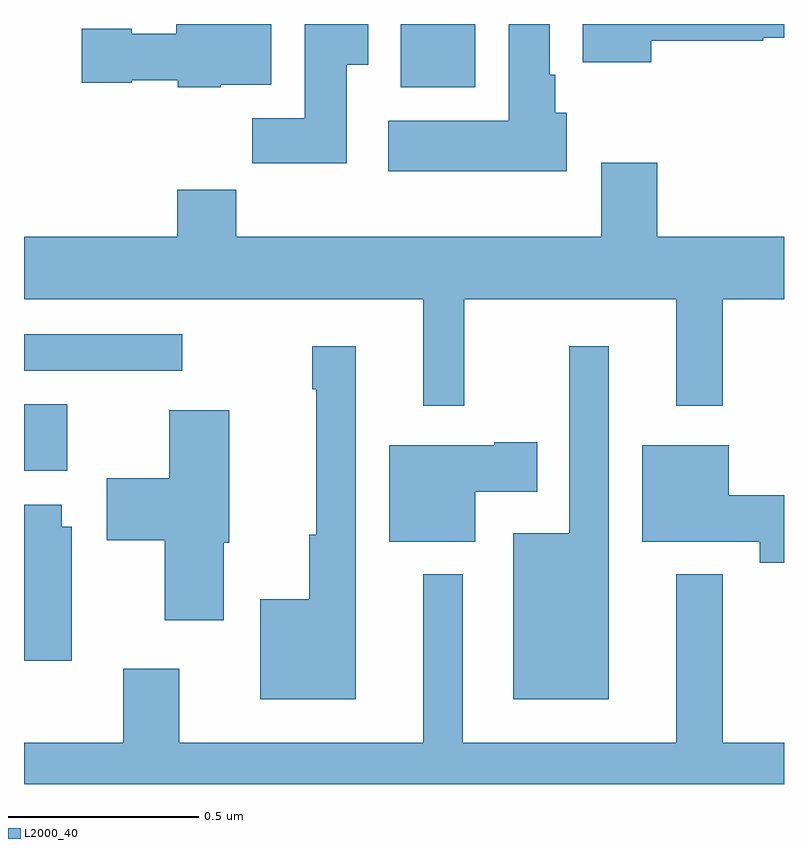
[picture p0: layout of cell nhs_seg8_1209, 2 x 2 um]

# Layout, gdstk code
import gdstk
lib = gdstk.Library(unit=1e-6, precision=1e-09)
def R(c, l, rs):  # rectangles x0, y0, x1, y1
    for r in rs: c.add(gdstk.rectangle(r[:2], r[2:], *l))
def P(c, l, *ps):  # polygons
    for p in ps: c.add(gdstk.Polygon(p, *l))
L2000_40 = (2000, 40)

nhs_seg8_1209 = lib.new_cell('nhs_seg8_1209')
R(nhs_seg8_1209, L2000_40, [(127,1106.724,127.114,1106.899), (127,1106.988,127.417,1107.084), (127.991,1107.734,128.188,1107.9)])
P(nhs_seg8_1209, L2000_40, [(128.65,1107.856),(128.946,1107.856),(128.946,1107.864),(129,1107.864),(129,1107.9),(128.471,1107.9),(128.471,1107.8),(128.65,1107.8)],
  [(128.428,1107.666),(128.398,1107.666),(128.398,1107.766),(128.383,1107.766),(128.383,1107.9),(128.276,1107.9),(128.276,1107.646),(127.959,1107.646),(127.959,1107.512),(128.428,1107.512)],
  [(127.849,1107.793),(127.906,1107.793),(127.906,1107.9),(127.739,1107.9),(127.739,1107.652),(127.6,1107.652),(127.6,1107.534),(127.849,1107.534)],
  [(127.518,1107.74),(127.651,1107.74),(127.651,1107.9),(127.4,1107.9),(127.4,1107.874),(127.284,1107.874),(127.284,1107.887),(127.152,1107.887),(127.152,1107.745),(127.284,1107.745),(127.284,1107.752),(127.404,1107.752),(127.404,1107.734),(127.518,1107.734)],
  [(128.158,1107.176),(128.717,1107.176),(128.717,1106.895),(128.839,1106.895),(128.839,1107.176),(129,1107.176),(129,1107.34),(128.667,1107.34),(128.667,1107.535),(128.519,1107.535),(128.519,1107.34),(127.559,1107.34),(127.559,1107.464),(127.403,1107.464),(127.403,1107.34),(127,1107.34),(127,1107.176),(128.051,1107.176),(128.051,1106.895),(128.158,1106.895)],
  [(128.539,1107.052),(128.435,1107.052),(128.435,1106.56),(128.288,1106.56),(128.288,1106.123),(128.539,1106.123)],
  [(127.873,1107.052),(127.759,1107.052),(127.759,1106.939),(127.769,1106.939),(127.769,1106.556),(127.751,1106.556),(127.751,1106.386),(127.622,1106.386),(127.622,1106.123),(127.873,1106.123)],
  [(127.525,1106.535),(127.54,1106.535),(127.54,1106.884),(127.382,1106.884),(127.382,1106.704),(127.218,1106.704),(127.218,1106.542),(127.37,1106.542),(127.37,1106.331),(127.525,1106.331)],
  [(128.188,1106.669),(128.35,1106.669),(128.35,1106.799),(128.237,1106.799),(128.237,1106.791),(127.961,1106.791),(127.961,1106.537),(128.188,1106.537)],
  [(129,1106.66),(128.854,1106.66),(128.854,1106.791),(128.627,1106.791),(128.627,1106.537),(128.936,1106.537),(128.936,1106.482),(129,1106.482)],
  [(127.126,1106.577),(127.099,1106.577),(127.099,1106.635),(127,1106.635),(127,1106.225),(127.126,1106.225)],
  [(129,1106.008),(128.839,1106.008),(128.839,1106.452),(128.717,1106.452),(128.717,1106.008),(128.155,1106.008),(128.155,1106.452),(128.051,1106.452),(128.051,1106.008),(127.408,1106.008),(127.408,1106.203),(127.261,1106.203),(127.261,1106.008),(127,1106.008),(127,1105.9),(129,1105.9)])

lib.write_gds('nhs_seg8_1209.gds')
